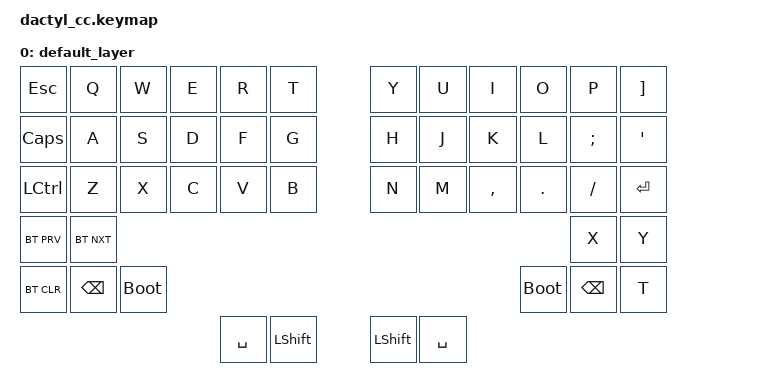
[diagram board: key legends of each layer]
#include <behaviors.dtsi>
#include <dt-bindings/zmk/keys.h>
#include <dt-bindings/zmk/bt.h>
#include <dt-bindings/zmk/outputs.h>

#define DEFAULT 0
#define MAC     1
#define LOWER   2
#define RAISE   3
#define ADJUST  4

#define HYPER(key) LS(LC(LA(LG(key))))
#define MEH(key)   LS(LC(LA(key)))

&sl {
    release-after-ms = <5000>;
};

&kscan0 {
    debounce-press-ms = <30>;
    debounce-release-ms = <30>;
};

/ {
    keymap {
        compatible = "zmk,keymap";

        default_layer {
            bindings = <
&kp ESC   &kp Q     &kp W    &kp E     &kp R     &kp T                              &kp Y     &kp U     &kp I     &kp O     &kp P    &kp RBKT
&kp CAPSLOCK  &kp A     &kp S    &kp D     &kp F     &kp G                          &kp H     &kp J     &kp K     &kp L     &kp SEMI &kp SQT
&kp LCTRL  &kp Z     &kp X    &kp C     &kp V     &kp B                              &kp N     &kp M     &kp COMMA &kp DOT   &kp FSLH &kp RETURN
                            &bt BT_PRV    &bt BT_NXT                                                      &kp X    &kp Y
                            &bt BT_CLR    &kp BACKSPACE  &bootloader                  &bootloader   &kp BACKSPACE  &kp T
                                &kp SPACE &kp LSHFT                                               &kp LSHFT  &kp SPACE
            >;
        };
    };
};
